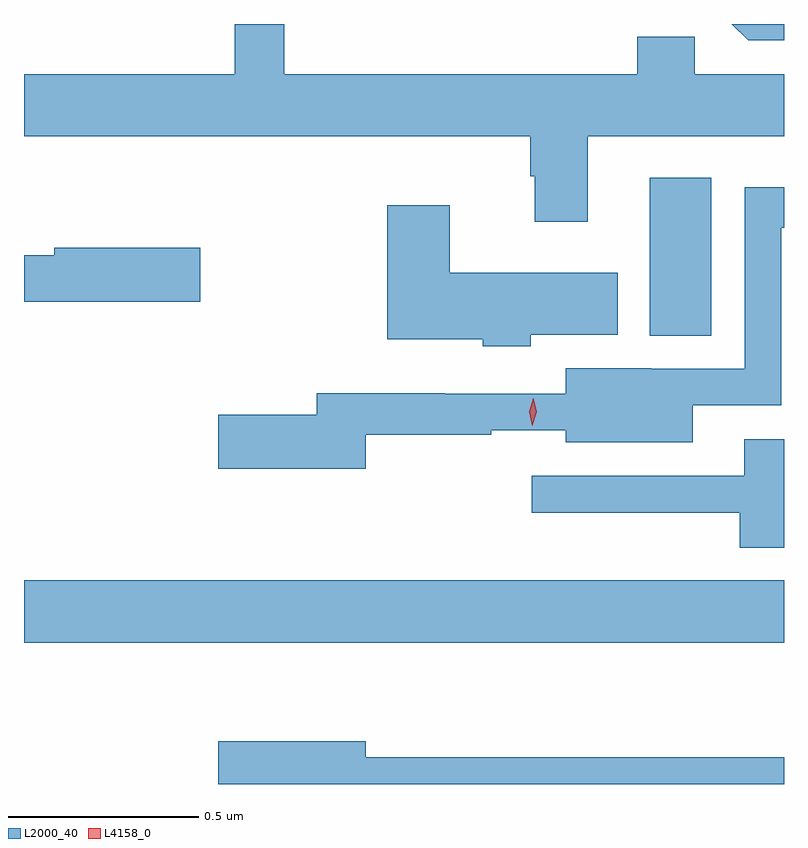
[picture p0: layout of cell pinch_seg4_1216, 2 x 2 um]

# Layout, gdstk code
import gdstk
lib = gdstk.Library(unit=1e-6, precision=1e-09)
def R(c, l, rs):  # rectangles x0, y0, x1, y1
    for r in rs: c.add(gdstk.rectangle(r[:2], r[2:], *l))
def P(c, l, *ps):  # polygons
    for p in ps: c.add(gdstk.Polygon(p, *l))
L2000_40 = (2000, 40)
L4158_0 = (4158, 0)

pinch_seg4_1216 = lib.new_cell('pinch_seg4_1216')
R(pinch_seg4_1216, L2000_40, [(543.113,754.196,545.113,754.36), (544.76,755.003,544.921,755.419)])
P(pinch_seg4_1216, L2000_40, [(543.798,755.824),(543.667,755.824),(543.667,755.692),(543.113,755.692),(543.113,755.528),(544.445,755.528),(544.445,755.424),(544.457,755.424),(544.457,755.304),(544.597,755.304),(544.597,755.528),(545.113,755.528),(545.113,755.692),(544.878,755.692),(544.878,755.79),(544.727,755.79),(544.727,755.692),(543.798,755.692)],
  [(545.113,755.824),(544.976,755.824),(545.019,755.781),(545.113,755.781)],
  [(544.012,754.743),(544.342,754.743),(544.342,754.755),(544.538,754.755),(544.538,754.724),(544.873,754.724),(544.873,754.821),(545.106,754.821),(545.106,755.288),(545.113,755.288),(545.113,755.395),(545.01,755.395),(545.01,754.917),(544.764,754.917),(544.764,754.918),(544.538,754.918),(544.538,754.851),(544.22,754.851),(544.22,754.852),(543.884,754.852),(543.884,754.796),(543.624,754.796),(543.624,754.654),(544.012,754.654)],
  [(544.446,755.006),(544.675,755.006),(544.675,755.17),(544.234,755.17),(544.234,755.347),(544.069,755.347),(544.069,754.994),(544.32,754.994),(544.32,754.976),(544.446,754.976)],
  [(543.577,755.235),(543.192,755.235),(543.192,755.215),(543.113,755.215),(543.113,755.093),(543.577,755.093)],
  [(545.113,754.731),(545.009,754.731),(545.009,754.635),(544.449,754.635),(544.449,754.538),(544.997,754.538),(544.997,754.446),(545.113,754.446)],
  [(545.113,753.895),(544.012,753.895),(544.012,753.937),(543.624,753.937),(543.624,753.824),(545.113,753.824)])
P(pinch_seg4_1216, L4158_0, [(544.45,754.767),(544.45,754.767),(544.442,754.803),(544.453,754.839),(544.453,754.839),(544.453,754.839),(544.462,754.803),(544.451,754.767)])

lib.write_gds('pinch_seg4_1216.gds')
